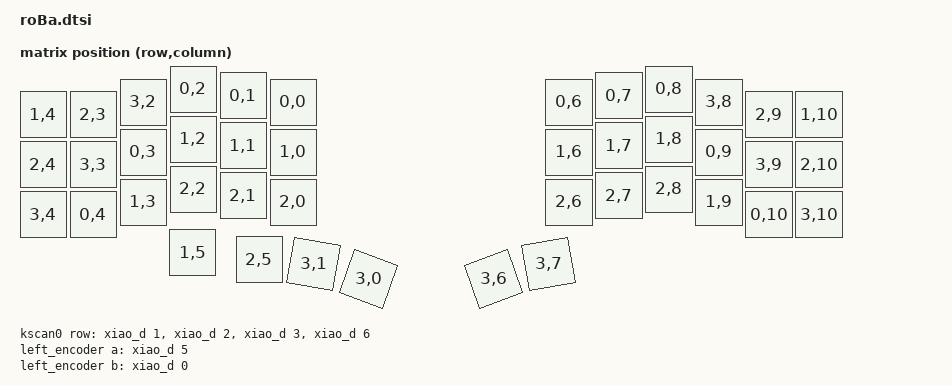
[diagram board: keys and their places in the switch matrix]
#include <dt-bindings/zmk/matrix_transform.h>
#include <physical_layouts.dtsi>

/ {
    chosen {
        zmk,physical-layout = &roba_physical_layout;
    };

    roba_physical_layout: roba_physical_layout {
        compatible = "zmk,physical-layout";
        display-name = "Default";
        transform = <&default_transform>;
        kscan = <&kscan0>;

        keys  //                     w   h    x    y     rot    rx    ry
            // row 0
            = <&key_physical_attrs 100 100    0   51       0     0     0>
            , <&key_physical_attrs 100 100  100   51       0     0     0>
            , <&key_physical_attrs 100 100  200   26       0     0     0>
            , <&key_physical_attrs 100 100  300    0       0     0     0>
            , <&key_physical_attrs 100 100  400   13       0     0     0>
            , <&key_physical_attrs 100 100  500   26       0     0     0>
            , <&key_physical_attrs 100 100 1052   26       0     0     0>
            , <&key_physical_attrs 100 100 1152   13       0     0     0>
            , <&key_physical_attrs 100 100 1252    0       0     0     0>
            , <&key_physical_attrs 100 100 1352   26       0     0     0>
            , <&key_physical_attrs 100 100 1452   51       0     0     0>
            , <&key_physical_attrs 100 100 1552   51       0     0     0>
            // row 1
            , <&key_physical_attrs 100 100    0  151       0     0     0>
            , <&key_physical_attrs 100 100  100  151       0     0     0>
            , <&key_physical_attrs 100 100  200  126       0     0     0>
            , <&key_physical_attrs 100 100  300  100       0     0     0>
            , <&key_physical_attrs 100 100  400  113       0     0     0>
            , <&key_physical_attrs 100 100  500  126       0     0     0>
            , <&key_physical_attrs 100 100 1052  126       0     0     0>
            , <&key_physical_attrs 100 100 1152  113       0     0     0>
            , <&key_physical_attrs 100 100 1252  100       0     0     0>
            , <&key_physical_attrs 100 100 1352  126       0     0     0>
            , <&key_physical_attrs 100 100 1452  151       0     0     0>
            , <&key_physical_attrs 100 100 1552  151       0     0     0>
            // row 2
            , <&key_physical_attrs 100 100    0  251       0     0     0>
            , <&key_physical_attrs 100 100  100  251       0     0     0>
            , <&key_physical_attrs 100 100  200  226       0     0     0>
            , <&key_physical_attrs 100 100  300  200       0     0     0>
            , <&key_physical_attrs 100 100  400  213       0     0     0>
            , <&key_physical_attrs 100 100  500  226       0     0     0>
            , <&key_physical_attrs 100 100 1052  226       0     0     0>
            , <&key_physical_attrs 100 100 1152  213       0     0     0>
            , <&key_physical_attrs 100 100 1252  200       0     0     0>
            , <&key_physical_attrs 100 100 1352  226       0     0     0>
            , <&key_physical_attrs 100 100 1452  251       0     0     0>
            , <&key_physical_attrs 100 100 1552  251       0     0     0>
            // thumbs
            , <&key_physical_attrs 100 100  299  327       0     0     0>
            , <&key_physical_attrs 100 100  432  341       0     0     0>
            , <&key_physical_attrs 100 100  541  350    1000   591   400>
            , <&key_physical_attrs 100 100  651  380    2000   701   430>
            , <&key_physical_attrs 100 100  901  380 (-2000)   951   430>
            , <&key_physical_attrs 100 100 1011  350 (-1000)  1061   400>
            ;
    };

    default_transform: keymap_transform_0 {
        compatible = "zmk,matrix-transform";
        columns = <11>;
        rows = <4>;
        map = <
            RC(1,4)  RC(2,3)  RC(3,2)  RC(0,2)  RC(0,1)  RC(0,0)    RC(0,6)  RC(0,7)  RC(0,8)  RC(3,8)  RC(2,9)  RC(1,10)
            RC(2,4)  RC(3,3)  RC(0,3)  RC(1,2)  RC(1,1)  RC(1,0)    RC(1,6)  RC(1,7)  RC(1,8)  RC(0,9)  RC(3,9)  RC(2,10)
            RC(3,4)  RC(0,4)  RC(1,3)  RC(2,2)  RC(2,1)  RC(2,0)    RC(2,6)  RC(2,7)  RC(2,8)  RC(1,9)  RC(0,10) RC(3,10)
                              RC(1,5)  RC(2,5)  RC(3,1)  RC(3,0)    RC(3,6)  RC(3,7)
        >;
    };

    kscan0: kscan {
        compatible = "zmk,kscan-gpio-matrix";
        label = "KSCAN";
        diode-direction = "col2row";
            row-gpios
                = <&xiao_d 1 (GPIO_ACTIVE_HIGH | GPIO_PULL_DOWN)>
                , <&xiao_d 2 (GPIO_ACTIVE_HIGH | GPIO_PULL_DOWN)>
                , <&xiao_d 3 (GPIO_ACTIVE_HIGH | GPIO_PULL_DOWN)>
                , <&xiao_d 6 (GPIO_ACTIVE_HIGH | GPIO_PULL_DOWN)>
                ;
    };

    left_encoder: encoder_left {
        compatible = "alps,ec11";
        a-gpios = <&xiao_d 5 (GPIO_ACTIVE_HIGH | GPIO_PULL_UP)>;
        b-gpios = <&xiao_d 0 (GPIO_ACTIVE_HIGH | GPIO_PULL_UP)>;
        steps = <12>;
        status = "disabled";
    };

    right_encoder: encoder_right {
        status = "disabled";
    };

    sensors: sensors {
        compatible = "zmk,keymap-sensors";
        sensors = <&left_encoder &right_encoder>;
        triggers-per-rotation = <10>;
    };

    trackball_listener: trackball_listener {
        compatible = "zmk,input-listener";
        status = "disabled";
    };
};

&spi0 {
    status = "disabled";

    trackball: trackball@0 {
        status = "disabled";
        reg = <0>;
    };
};
